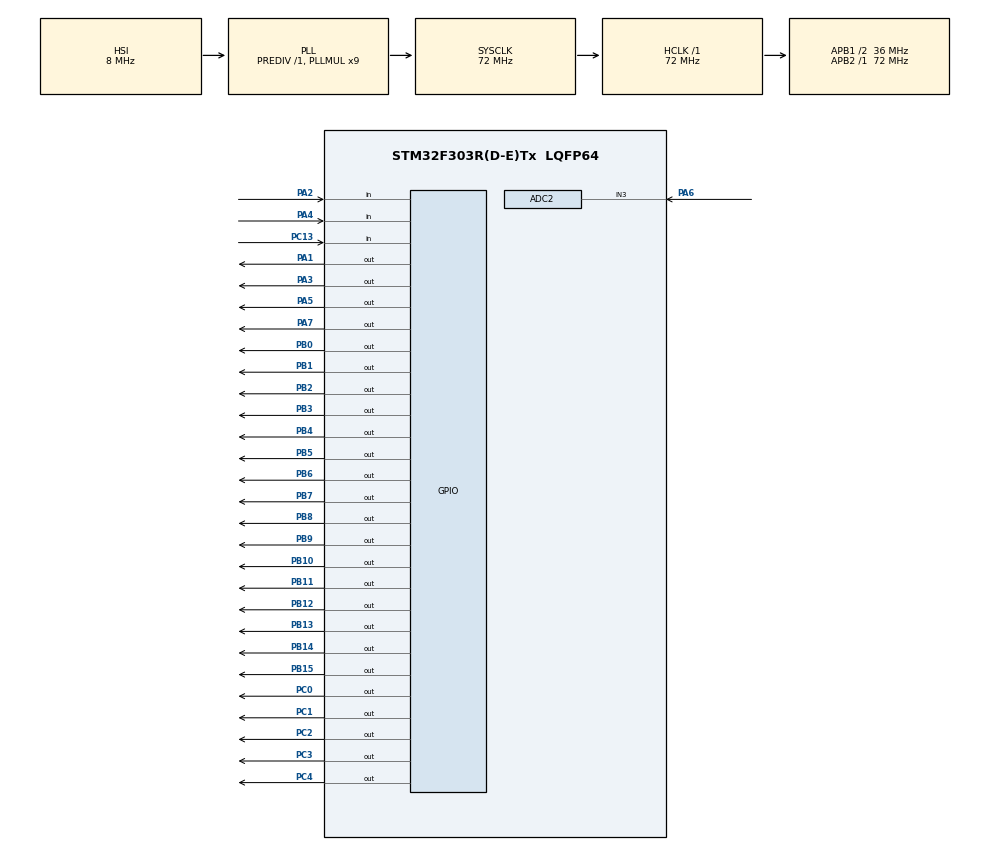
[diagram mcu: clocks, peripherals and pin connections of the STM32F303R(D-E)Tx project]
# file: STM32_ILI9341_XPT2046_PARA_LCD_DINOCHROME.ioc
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ADC2.Channel-1\#ChannelRegularConversion=ADC_CHANNEL_3
ADC2.ContinuousConvMode=DISABLE
ADC2.NbrOfConversionFlag=1
ADC2.Offset-1\#ChannelRegularConversion=0
ADC2.OffsetNumber-1\#ChannelRegularConversion=ADC_OFFSET_NONE
ADC2.Rank-1\#ChannelRegularConversion=1
ADC2.SamplingTime-1\#ChannelRegularConversion=ADC_SAMPLETIME_1CYCLE_5
ADC2.SamplingTimeOPAMP-1\#ChannelRegularConversion=ADC_SAMPLETIME_61CYCLES_5
Mcu.Family=STM32F3
Mcu.Name=STM32F303R(D-E)Tx
Mcu.Package=LQFP64
NVIC.PriorityGroup=NVIC_PRIORITYGROUP_4
NVIC.TIM2_IRQn=true\:0\:0\:false\:false\:true\:true\:true\:true
PA1.GPIO_PuPd=GPIO_PULLUP
PA1.GPIO_Speed=GPIO_SPEED_FREQ_HIGH
PA1.Signal=GPIO_Output
PA2.GPIO_PuPd=GPIO_PULLUP
PA2.Signal=GPIO_Input
PA3.GPIO_PuPd=GPIO_PULLUP
PA3.GPIO_Speed=GPIO_SPEED_FREQ_HIGH
PA3.Signal=GPIO_Output
PA4.GPIO_PuPd=GPIO_PULLUP
PA4.Signal=GPIO_Input
PA5.GPIO_PuPd=GPIO_PULLUP
PA5.GPIO_Speed=GPIO_SPEED_FREQ_HIGH
PA5.Signal=GPIO_Output
PA6.Mode=IN3-Single-Ended
PA6.Signal=ADC2_IN3
PA7.GPIO_PuPd=GPIO_PULLUP
PA7.GPIO_Speed=GPIO_SPEED_FREQ_HIGH
PA7.Signal=GPIO_Output
PB0.PinState=GPIO_PIN_SET
PB0.Signal=GPIO_Output
PB1.PinState=GPIO_PIN_SET
PB1.Signal=GPIO_Output
PB10.PinState=GPIO_PIN_SET
PB10.Signal=GPIO_Output
PB11.PinState=GPIO_PIN_SET
PB11.Signal=GPIO_Output
PB12.PinState=GPIO_PIN_SET
PB12.Signal=GPIO_Output
PB13.PinState=GPIO_PIN_SET
PB13.Signal=GPIO_Output
PB14.PinState=GPIO_PIN_SET
PB14.Signal=GPIO_Output
PB15.PinState=GPIO_PIN_SET
PB15.Signal=GPIO_Output
PB2.PinState=GPIO_PIN_SET
PB2.Signal=GPIO_Output
PB3.PinState=GPIO_PIN_SET
PB3.Signal=GPIO_Output
PB4.PinState=GPIO_PIN_SET
PB4.Signal=GPIO_Output
PB5.PinState=GPIO_PIN_SET
PB5.Signal=GPIO_Output
PB6.PinState=GPIO_PIN_SET
PB6.Signal=GPIO_Output
PB7.PinState=GPIO_PIN_SET
PB7.Signal=GPIO_Output
PB8.PinState=GPIO_PIN_SET
PB8.Signal=GPIO_Output
PB9.PinState=GPIO_PIN_SET
PB9.Signal=GPIO_Output
PC0.GPIO_PuPd=GPIO_NOPULL
PC0.PinState=GPIO_PIN_SET
PC0.Signal=GPIO_Output
PC1.GPIO_PuPd=GPIO_NOPULL
PC1.PinState=GPIO_PIN_SET
PC1.Signal=GPIO_Output
PC13.GPIO_PuPd=GPIO_PULLUP
PC13.Signal=GPIO_Input
PC2.GPIO_PuPd=GPIO_NOPULL
PC2.PinState=GPIO_PIN_SET
PC2.Signal=GPIO_Output
PC3.GPIO_PuPd=GPIO_NOPULL
PC3.PinState=GPIO_PIN_SET
PC3.Signal=GPIO_Output
PC4.GPIO_PuPd=GPIO_NOPULL
PC4.PinState=GPIO_PIN_SET
PC4.Signal=GPIO_Output
ProjectManager.HeapSize=0x200
ProjectManager.StackSize=0x400
ProjectManager.TargetToolchain=STM32CubeIDE
RCC.AHBFreq_Value=72000000
RCC.APB1CLKDivider=RCC_HCLK_DIV2
RCC.APB1Freq_Value=36000000
RCC.APB1TimFreq_Value=72000000
RCC.APB2Freq_Value=72000000
RCC.APB2TimFreq_Value=72000000
RCC.CortexFreq_Value=72000000
RCC.HCLKFreq_Value=72000000
RCC.HSE_VALUE=8000000
RCC.HSI_VALUE=8000000
RCC.LSE_VALUE=32768
RCC.PLLMUL=RCC_PLL_MUL9
RCC.SYSCLKFreq_VALUE=72000000
RCC.SYSCLKSourceVirtual=RCC_SYSCLKSOURCE_PLLCLK
RCC.USBFreq_Value=72000000
TIM2.Period=1499
TIM2.Prescaler=178
VP_TIM2_VS_ClockSourceINT.Mode=Internal
board=custom

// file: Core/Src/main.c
/* USER CODE BEGIN Header */
/**
  ******************************************************************************
  * @file           : main.c
  * @brief          : Main program body
  ******************************************************************************
  * @attention
  *
  * Copyright (c) 2025 STMicroelectronics.
  * All rights reserved.
  *
  * This software is licensed under terms that can be found in the LICENSE file
  * in the root directory of this software component.
  * If no LICENSE file comes with this software, it is provided AS-IS.
  *
  ******************************************************************************
  */
/* USER CODE END Header */
#include "main.h"

/* USER CODE BEGIN Includes */
#include "sys.h"
#include "delay.h"
#include "ILI9341_paradriver.h"
//#include <stdio.h>
/* USER CODE END Includes */

ADC_HandleTypeDef hadc2;

TIM_HandleTypeDef htim2;

void SystemClock_Config(void);
static void MX_GPIO_Init(void);
static void MX_TIM2_Init(void);
static void MX_ADC2_Init(void);
/* USER CODE BEGIN PFP */
void delay_init(u8 SYSCLK);
void ILI9341_paradriver_Init(void);
void LCD_DrawRectangle(u16 x1, u16 y1, u16 x2, u16 y2);
void LCD_DrawFillRectangle(u16 x1, u16 y1, u16 x2, u16 y2);
void Show_Str(u16 x, u16 y, u16 fc, u16 bc, u8 *str,u8 size,u8 mode);
void GAME(void);
void DrawObstacle1(uint16_t shift);
void DrawObstacle2(uint16_t shift);
void DrawObstacle3(uint16_t shift);
void DrawDino(uint16_t altitude,uint8_t left_leg, uint8_t right_leg);
//void CollisionDetector(void);

/* USER CODE END PFP */

/* USER CODE BEGIN 0 */

uint32_t adc_value;

void RandomNumbers(void)
{
	  HAL_ADC_Start(&hadc2); // ADC start conversion
	  if (HAL_ADC_PollForConversion(&hadc2, HAL_MAX_DELAY) == HAL_OK)
	  {
		  adc_value = HAL_ADC_GetValue(&hadc2); // ADC value
	  }
	  HAL_ADC_Stop(&hadc2); // ADC stop conversion
}

/* USER CODE END 0 */

int main(void)
{

  /* MCU Configuration--------------------------------------------------------*/

  /* Reset of all peripherals, Initializes the Flash interface and the Systick. */
  HAL_Init();

  /* Configure the system clock */
  SystemClock_Config();

  /* Initialize all configured peripherals */
  MX_GPIO_Init();
  MX_TIM2_Init();
  MX_ADC2_Init();
  /* USER CODE BEGIN 2 */
  delay_init(72);			// delay initialization (System Clock [MHz])
  ILI9341_paradriver_Init();			// initialization of LCD driver

  HAL_TIM_Base_Start_IT(&htim2);	// timer start (60Hz refresh rate)

  	//POINT_COLOR=BLACK;
  	//LCD_DrawLine(0,0,0,240);	// hide obstacles

  //char war[5];

	//DrawObstacle1(240);
  //DrawDino(0,0,0);
  //CollisionDetector();

  /* USER CODE END 2 */

  /* Infinite loop */
  /* USER CODE BEGIN WHILE */
  while (1)
  {
	GAME();

/*	  sprintf(war,"%d",RandomNumbers());

	  Show_Str(35,200,RED,WHITE,war,16,1);
	  delay_ms(1000);
	  LCD_Fill(0,200,100,240,WHITE);*/
    /* USER CODE END WHILE */

  }
}

void SystemClock_Config(void)
{
  RCC_OscInitTypeDef RCC_OscInitStruct = {0};
  RCC_ClkInitTypeDef RCC_ClkInitStruct = {0};
  RCC_PeriphCLKInitTypeDef PeriphClkInit = {0};

  /** Initializes the RCC Oscillators according to the specified parameters
  * in the RCC_OscInitTypeDef structure.
  */
  RCC_OscInitStruct.OscillatorType = RCC_OSCILLATORTYPE_HSI;
  RCC_OscInitStruct.HSIState = RCC_HSI_ON;
  RCC_OscInitStruct.HSICalibrationValue = RCC_HSICALIBRATION_DEFAULT;
  RCC_OscInitStruct.PLL.PLLState = RCC_PLL_ON;
  RCC_OscInitStruct.PLL.PLLSource = RCC_PLLSOURCE_HSI;
  RCC_OscInitStruct.PLL.PLLMUL = RCC_PLL_MUL9;
  RCC_OscInitStruct.PLL.PREDIV = RCC_PREDIV_DIV1;
  if (HAL_RCC_OscConfig(&RCC_OscInitStruct) != HAL_OK)
  {
    Error_Handler();
  }

  /** Initializes the CPU, AHB and APB buses clocks
  */
  RCC_ClkInitStruct.ClockType = RCC_CLOCKTYPE_HCLK|RCC_CLOCKTYPE_SYSCLK
                              |RCC_CLOCKTYPE_PCLK1|RCC_CLOCKTYPE_PCLK2;
  RCC_ClkInitStruct.SYSCLKSource = RCC_SYSCLKSOURCE_PLLCLK;
  RCC_ClkInitStruct.AHBCLKDivider = RCC_SYSCLK_DIV1;
  RCC_ClkInitStruct.APB1CLKDivider = RCC_HCLK_DIV2;
  RCC_ClkInitStruct.APB2CLKDivider = RCC_HCLK_DIV1;

  if (HAL_RCC_ClockConfig(&RCC_ClkInitStruct, FLASH_LATENCY_2) != HAL_OK)
  {
    Error_Handler();
  }
  PeriphClkInit.PeriphClockSelection = RCC_PERIPHCLK_ADC12|RCC_PERIPHCLK_TIM2;
  PeriphClkInit.Adc12ClockSelection = RCC_ADC12PLLCLK_DIV1;
  PeriphClkInit.Tim2ClockSelection = RCC_TIM2CLK_HCLK;
  if (HAL_RCCEx_PeriphCLKConfig(&PeriphClkInit) != HAL_OK)
  {
    Error_Handler();
  }
}

static void MX_ADC2_Init(void)
{

  ADC_ChannelConfTypeDef sConfig = {0};

  /** Common config
  */
  hadc2.Instance = ADC2;
  hadc2.Init.ClockPrescaler = ADC_CLOCK_ASYNC_DIV1;
  hadc2.Init.Resolution = ADC_RESOLUTION_12B;
  hadc2.Init.ScanConvMode = ADC_SCAN_DISABLE;
  hadc2.Init.ContinuousConvMode = DISABLE;
  hadc2.Init.DiscontinuousConvMode = DISABLE;
  hadc2.Init.ExternalTrigConvEdge = ADC_EXTERNALTRIGCONVEDGE_NONE;
  hadc2.Init.ExternalTrigConv = ADC_SOFTWARE_START;
  hadc2.Init.DataAlign = ADC_DATAALIGN_RIGHT;
  hadc2.Init.NbrOfConversion = 1;
  hadc2.Init.DMAContinuousRequests = DISABLE;
  hadc2.Init.EOCSelection = ADC_EOC_SINGLE_CONV;
  hadc2.Init.LowPowerAutoWait = DISABLE;
  hadc2.Init.Overrun = ADC_OVR_DATA_OVERWRITTEN;
  if (HAL_ADC_Init(&hadc2) != HAL_OK)
  {
    Error_Handler();
  }

  /** Configure Regular Channel
  */
  sConfig.Channel = ADC_CHANNEL_3;
  sConfig.Rank = ADC_REGULAR_RANK_1;
  sConfig.SingleDiff = ADC_SINGLE_ENDED;
  sConfig.SamplingTime = ADC_SAMPLETIME_1CYCLE_5;
  sConfig.OffsetNumber = ADC_OFFSET_NONE;
  sConfig.Offset = 0;
  if (HAL_ADC_ConfigChannel(&hadc2, &sConfig) != HAL_OK)
  {
    Error_Handler();
  }

}

static void MX_TIM2_Init(void)
{

  TIM_ClockConfigTypeDef sClockSourceConfig = {0};
  TIM_MasterConfigTypeDef sMasterConfig = {0};

  htim2.Instance = TIM2;
  htim2.Init.Prescaler = 178;
  htim2.Init.CounterMode = TIM_COUNTERMODE_UP;
  htim2.Init.Period = 1499;
  htim2.Init.ClockDivision = TIM_CLOCKDIVISION_DIV1;
  htim2.Init.AutoReloadPreload = TIM_AUTORELOAD_PRELOAD_DISABLE;
  if (HAL_TIM_Base_Init(&htim2) != HAL_OK)
  {
    Error_Handler();
  }
  sClockSourceConfig.ClockSource = TIM_CLOCKSOURCE_INTERNAL;
  if (HAL_TIM_ConfigClockSource(&htim2, &sClockSourceConfig) != HAL_OK)
  {
    Error_Handler();
  }
  sMasterConfig.MasterOutputTrigger = TIM_TRGO_RESET;
  sMasterConfig.MasterSlaveMode = TIM_MASTERSLAVEMODE_DISABLE;
  if (HAL_TIMEx_MasterConfigSynchronization(&htim2, &sMasterConfig) != HAL_OK)
  {
    Error_Handler();
  }

}

static void MX_GPIO_Init(void)
{
  GPIO_InitTypeDef GPIO_InitStruct = {0};

  /* GPIO Ports Clock Enable */
  __HAL_RCC_GPIOC_CLK_ENABLE();
  __HAL_RCC_GPIOA_CLK_ENABLE();
  __HAL_RCC_GPIOB_CLK_ENABLE();

  /*Configure GPIO pin Output Level */
  HAL_GPIO_WritePin(GPIOC, GPIO_PIN_0|GPIO_PIN_1|GPIO_PIN_2|GPIO_PIN_3
                          |GPIO_PIN_4, GPIO_PIN_SET);

  /*Configure GPIO pin Output Level */
  HAL_GPIO_WritePin(GPIOA, GPIO_PIN_1|GPIO_PIN_3|GPIO_PIN_5|GPIO_PIN_7, GPIO_PIN_RESET);

  /*Configure GPIO pin Output Level */
  HAL_GPIO_WritePin(GPIOB, GPIO_PIN_0|GPIO_PIN_1|GPIO_PIN_2|GPIO_PIN_10
                          |GPIO_PIN_11|GPIO_PIN_12|GPIO_PIN_13|GPIO_PIN_14
                          |GPIO_PIN_15|GPIO_PIN_3|GPIO_PIN_4|GPIO_PIN_5
                          |GPIO_PIN_6|GPIO_PIN_7|GPIO_PIN_8|GPIO_PIN_9, GPIO_PIN_SET);

  /*Configure GPIO pin : PC13 */
  GPIO_InitStruct.Pin = GPIO_PIN_13;
  GPIO_InitStruct.Mode = GPIO_MODE_INPUT;
  GPIO_InitStruct.Pull = GPIO_PULLUP;
  HAL_GPIO_Init(GPIOC, &GPIO_InitStruct);

  /*Configure GPIO pins : PC0 PC1 PC2 PC3
                           PC4 */
  GPIO_InitStruct.Pin = GPIO_PIN_0|GPIO_PIN_1|GPIO_PIN_2|GPIO_PIN_3
                          |GPIO_PIN_4;
  GPIO_InitStruct.Mode = GPIO_MODE_OUTPUT_PP;
  GPIO_InitStruct.Pull = GPIO_NOPULL;
  GPIO_InitStruct.Speed = GPIO_SPEED_FREQ_LOW;
  HAL_GPIO_Init(GPIOC, &GPIO_InitStruct);

  /*Configure GPIO pins : PA1 PA3 PA5 PA7 */
  GPIO_InitStruct.Pin = GPIO_PIN_1|GPIO_PIN_3|GPIO_PIN_5|GPIO_PIN_7;
  GPIO_InitStruct.Mode = GPIO_MODE_OUTPUT_PP;
  GPIO_InitStruct.Pull = GPIO_PULLUP;
  GPIO_InitStruct.Speed = GPIO_SPEED_FREQ_HIGH;
  HAL_GPIO_Init(GPIOA, &GPIO_InitStruct);

  /*Configure GPIO pins : PA2 PA4 */
  GPIO_InitStruct.Pin = GPIO_PIN_2|GPIO_PIN_4;
  GPIO_InitStruct.Mode = GPIO_MODE_INPUT;
  GPIO_InitStruct.Pull = GPIO_PULLUP;
  HAL_GPIO_Init(GPIOA, &GPIO_InitStruct);

  /*Configure GPIO pins : PB0 PB1 PB2 PB10
                           PB11 PB12 PB13 PB14
                           PB15 PB3 PB4 PB5
                           PB6 PB7 PB8 PB9 */
  GPIO_InitStruct.Pin = GPIO_PIN_0|GPIO_PIN_1|GPIO_PIN_2|GPIO_PIN_10
                          |GPIO_PIN_11|GPIO_PIN_12|GPIO_PIN_13|GPIO_PIN_14
                          |GPIO_PIN_15|GPIO_PIN_3|GPIO_PIN_4|GPIO_PIN_5
                          |GPIO_PIN_6|GPIO_PIN_7|GPIO_PIN_8|GPIO_PIN_9;
  GPIO_InitStruct.Mode = GPIO_MODE_OUTPUT_PP;
  GPIO_InitStruct.Pull = GPIO_NOPULL;
  GPIO_InitStruct.Speed = GPIO_SPEED_FREQ_LOW;
  HAL_GPIO_Init(GPIOB, &GPIO_InitStruct);

}

void Error_Handler(void)
{
  __disable_irq();
  while (1)
  {
  }
}
